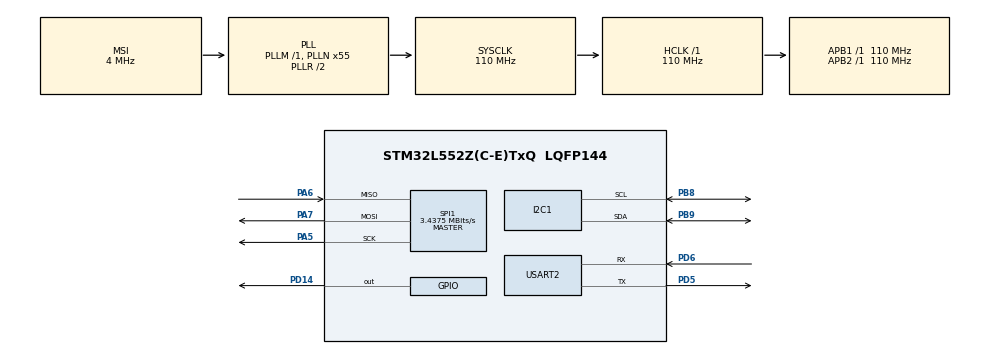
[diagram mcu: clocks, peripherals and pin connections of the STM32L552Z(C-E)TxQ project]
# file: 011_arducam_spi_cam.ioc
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I2C1.Timing=0x60514452
Mcu.Family=STM32L5
Mcu.Name=STM32L552Z(C-E)TxQ
Mcu.Package=LQFP144
Mcu.TrustZone=disable
NUCLEO-L552ZE-Q.BUTTON=1
NUCLEO-L552ZE-Q.LD1=true
NUCLEO-L552ZE-Q.LD2=true
NUCLEO-L552ZE-Q.LD3=true
NUCLEO-L552ZE-Q.VCP=true
NVIC.EXTI13_IRQn=true\:0\:0\:false\:false\:true\:false\:true\:true
NVIC.I2C1_ER_IRQn=true\:0\:0\:false\:false\:true\:true\:true\:true
NVIC.I2C1_EV_IRQn=true\:0\:0\:false\:false\:true\:true\:true\:true
NVIC.PriorityGroup=NVIC_PRIORITYGROUP_3
NVIC.RCC_IRQn=true\:0\:0\:false\:false\:true\:true\:false\:true
NVIC.SPI1_IRQn=true\:0\:0\:false\:false\:true\:true\:true\:true
NVIC.USART2_IRQn=true\:0\:0\:false\:false\:true\:true\:true\:true
PA13\ (JTMS/SWDIO).Mode=Serial_Wire
PA13\ (JTMS/SWDIO).Signal=DEBUG_JTMS-SWDIO
PA14\ (JTCK/SWCLK).Mode=Serial_Wire
PA14\ (JTCK/SWCLK).Signal=DEBUG_JTCK-SWCLK
PA5.Mode=Full_Duplex_Master
PA5.Signal=SPI1_SCK
PA6.Mode=Full_Duplex_Master
PA6.Signal=SPI1_MISO
PA7.Mode=Full_Duplex_Master
PA7.Signal=SPI1_MOSI
PB3\ (JTDO/TRACESWO).Signal=DEBUG_JTDO-SWO
PB8.Mode=I2C
PB8.Signal=I2C1_SCL
PB9.Mode=I2C
PB9.Signal=I2C1_SDA
PC14-OSC32_IN\ (PC14).Mode=LSE-External-Oscillator
PC14-OSC32_IN\ (PC14).Signal=RCC_OSC32_IN
PC15-OSC32_OUT\ (PC15).Mode=LSE-External-Oscillator
PC15-OSC32_OUT\ (PC15).Signal=RCC_OSC32_OUT
PD14.GPIO_Speed=GPIO_SPEED_FREQ_HIGH
PD14.PinState=GPIO_PIN_SET
PD14.Signal=GPIO_Output
PD5.Mode=Asynchronous
PD5.Signal=USART2_TX
PD6.Mode=Asynchronous
PD6.Signal=USART2_RX
PG7.Signal=LPUART1_TX
PG8.Signal=LPUART1_RX
ProjectManager.HeapSize=0x200
ProjectManager.StackSize=0x400
ProjectManager.TargetToolchain=STM32CubeIDE
RCC.ADCCLockSelection=RCC_ADCCLKSOURCE_SYSCLK
RCC.ADCFreq_Value=110000000
RCC.AHBFreq_Value=110000000
RCC.APB1Freq_Value=110000000
RCC.APB1TimFreq_Value=110000000
RCC.APB2Freq_Value=110000000
RCC.APB2TimFreq_Value=110000000
RCC.CK48CLockSelection=RCC_USBCLKSOURCE_HSI48
RCC.CortexFreq_Value=110000000
RCC.HCLKFreq_Value=110000000
RCC.HSE_VALUE=8000000
RCC.HSI48_VALUE=48000000
RCC.HSI_VALUE=16000000
RCC.MSI_VALUE=4000000
RCC.PLLN=55
RCC.PLLSAI1N=24
RCC.RTCClockSelection=RCC_RTCCLKSOURCE_LSE
RCC.SYSCLKFreq_VALUE=110000000
RCC.SYSCLKSource=RCC_SYSCLKSOURCE_PLLCLK
RCC.USBFreq_Value=48000000
RCC.VCOOutputFreq_Value=220000000
SPI1.BaudRatePrescaler=SPI_BAUDRATEPRESCALER_32
SPI1.CalculateBaudRate=3.4375 MBits/s
SPI1.DataSize=SPI_DATASIZE_8BIT
SPI1.Direction=SPI_DIRECTION_2LINES
SPI1.Mode=SPI_MODE_MASTER
SPI1.NSSPMode=SPI_NSS_PULSE_DISABLE
SPI1.VirtualType=VM_MASTER
USART2.VirtualMode-Asynchronous=VM_ASYNC
VP_ICACHE_VS_ICACHE.Mode=DirectMappedCache
VP_NUCLEO-L552ZE-Q_VS_BSP_COMMON.Mode=COMMON
VP_PWR_VS_DBSignals.Mode=DisableDeadBatterySignals
VP_PWR_VS_SECSignals.Mode=Security/Privilege
board=NUCLEO-L552ZE-Q

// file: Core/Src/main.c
/* USER CODE BEGIN Header */
/**
  ******************************************************************************
  * @file           : main.c
  * @brief          : Main program body
  ******************************************************************************
  * @attention
  *
  * Copyright (c) 2026 STMicroelectronics.
  * All rights reserved.
  *
  * This software is licensed under terms that can be found in the LICENSE file
  * in the root directory of this software component.
  * If no LICENSE file comes with this software, it is provided AS-IS.
  *
  ******************************************************************************
  */
/* USER CODE END Header */
#include "main.h"

/* USER CODE BEGIN Includes */
#include "arducam.h"
#include <stdio.h>
#include <string.h>
#include "stm32l5xx_nucleo.h"
/* USER CODE END Includes */

/* USER CODE BEGIN PD */

/* Frame markers for host communication */
#define FRAME_START_MARKER_0    0xFF
#define FRAME_START_MARKER_1    0xAA
#define FRAME_END_MARKER_0      0xBB
#define FRAME_END_MARKER_1      0xCC

/* Commands from host */
#define CMD_SET_RES_320x240     0x00
#define CMD_SET_RES_640x480     0x01
#define CMD_SET_RES_1024x768    0x02
#define CMD_SET_RES_1280x960    0x03
#define CMD_SET_RES_1600x1200   0x04
#define CMD_SET_RES_2048x1536   0x05
#define CMD_SET_RES_2592x1944   0x06
#define CMD_SINGLE_CAPTURE      0x10
#define CMD_INIT_JPEG           0x11
#define CMD_START_STREAMING     0x20
#define CMD_STOP_STREAMING      0x21
#define CMD_QUALITY_HIGH        0xD0
#define CMD_QUALITY_DEFAULT     0xD1
#define CMD_QUALITY_LOW         0xD2
#define CMD_RESET_CAMERA        0xF0

/* Capture modes */
#define MODE_IDLE               0
#define MODE_SINGLE             1
#define MODE_STREAMING          2

/* USER CODE END PD */

COM_InitTypeDef BspCOMInit;
I2C_HandleTypeDef hi2c1;

SPI_HandleTypeDef hspi1;

UART_HandleTypeDef huart2;

/* USER CODE BEGIN PV */
static arducam_handle_t cam;

#define IMAGE_BUFFER_SIZE   (64 * 1024)  /* 64KB for JPEG */
static uint8_t image_buffer[IMAGE_BUFFER_SIZE];

/* Streaming state */
static volatile uint8_t capture_mode = MODE_IDLE;
static volatile uint8_t start_capture = 0;
static volatile uint8_t rx_command = 0xFF;
static volatile uint8_t rx_data_ready = 0;
/* USER CODE END PV */

void SystemClock_Config(void);
static void MX_GPIO_Init(void);
static void MX_I2C1_Init(void);
static void MX_ICACHE_Init(void);
static void MX_SPI1_Init(void);
static void MX_USART2_UART_Init(void);
/* USER CODE BEGIN PFP */
static HAL_StatusTypeDef camera_init(void);
static void process_command(uint8_t cmd);
static HAL_StatusTypeDef capture_and_send_image(void);
static void send_image_data(uint8_t *data, uint32_t length);
static void uart_send_string(const char *str);
static void start_uart_receive(void);

/* USER CODE END PFP */

/* USER CODE BEGIN 0 */

/* Print single character to USART2 */
void print_uart2(const char *str)
{
    HAL_UART_Transmit(&huart2, (uint8_t *)str, strlen(str), HAL_MAX_DELAY);
}

/* USER CODE END 0 */

int main(void)
{

  /* MCU Configuration--------------------------------------------------------*/

  /* Reset of all peripherals, Initializes the Flash interface and the Systick. */
  HAL_Init();

  /* Configure the system clock */
  SystemClock_Config();

  /* Initialize all configured peripherals */
  MX_GPIO_Init();
  MX_I2C1_Init();
  MX_ICACHE_Init();
  MX_SPI1_Init();
  MX_USART2_UART_Init();

  /* Initialize leds */
  BSP_LED_Init(LED_GREEN);
  BSP_LED_Init(LED_BLUE);
  BSP_LED_Init(LED_RED);

  /* Initialize USER push-button, will be used to trigger an interrupt each time it's pressed.*/
  BSP_PB_Init(BUTTON_USER, BUTTON_MODE_EXTI);

  /* Initialize COM1 port (115200, 8 bits (7-bit data + 1 stop bit), no parity */
  BspCOMInit.BaudRate   = 115200;
  BspCOMInit.WordLength = COM_WORDLENGTH_8B;
  BspCOMInit.StopBits   = COM_STOPBITS_1;
  BspCOMInit.Parity     = COM_PARITY_NONE;
  BspCOMInit.HwFlowCtl  = COM_HWCONTROL_NONE;
  if (BSP_COM_Init(COM1, &BspCOMInit) != BSP_ERROR_NONE)
  {
    Error_Handler();
  }

  /* Infinite loop */
  /* USER CODE BEGIN WHILE */
  /* Enable USART2 interrupt for command reception */
  HAL_NVIC_SetPriority(USART2_IRQn, 5, 0);
  HAL_NVIC_EnableIRQ(USART2_IRQn);

  if (camera_init() != HAL_OK) {
      printf("Camera initialization failed!\r\n");
      BSP_LED_On(LED_RED);
  } else {
      printf("Camera ready. Waiting for commands...\r\n");
      BSP_LED_On(LED_GREEN);
  }

  /* Start receiving commands from host */
  start_uart_receive();

  while (1)
  {
      /* Check for received command */
      if (rx_data_ready) {
          rx_data_ready = 0;
          process_command(rx_command);
          start_uart_receive();  /* Restart reception */
      }

      /* Handle capture modes */
      if (capture_mode == MODE_SINGLE) {
          if (start_capture == 1) {
              /* Start single capture - camera already woken up and FIFO cleared in process_command */
              printf("Starting single capture...\r\n");
              HAL_Delay(200);  /* Wait for sensor to stabilize */

              /* Start capture */
              arducam_start_capture(&cam);
              printf("Capture started, waiting for completion...\r\n");
              start_capture = 0;
          }

          /* Check if capture is done */
          bool done = false;
          arducam_is_capture_done(&cam, &done);
          if (done) {
              /* Wait a bit more to ensure FIFO is filled */
              HAL_Delay(50);

              printf("Capture done!\r\n");
              BSP_LED_Toggle(LED_BLUE);
              capture_and_send_image();
              arducam_clear_fifo_flag(&cam);
              arducam_enter_standby(&cam);
              capture_mode = MODE_IDLE;
          }
      }
      else if (capture_mode == MODE_STREAMING) {
          /* Check for stop command */
          if (rx_data_ready && rx_command == CMD_STOP_STREAMING) {
              rx_data_ready = 0;
              capture_mode = MODE_IDLE;
              start_capture = 0;
              uart_send_string("ACK CMD CAM stop video streaming. END");
              arducam_enter_standby(&cam);
              start_uart_receive();
              continue;
          }

          if (start_capture == 2) {
              /* Start streaming capture */
              arducam_flush_fifo(&cam);
              arducam_clear_fifo_flag(&cam);
              arducam_start_capture(&cam);
              start_capture = 0;
          }

          /* Check if capture is done */
          bool done = false;
          arducam_is_capture_done(&cam, &done);
          if (done) {
              BSP_LED_Toggle(LED_BLUE);
              capture_and_send_image();
              start_capture = 2;  /* Continue streaming */
          }
      }

    /* USER CODE END WHILE */

  }
}

void SystemClock_Config(void)
{
  RCC_OscInitTypeDef RCC_OscInitStruct = {0};
  RCC_ClkInitTypeDef RCC_ClkInitStruct = {0};

  /** Configure the main internal regulator output voltage
  */
  if (HAL_PWREx_ControlVoltageScaling(PWR_REGULATOR_VOLTAGE_SCALE0) != HAL_OK)
  {
    Error_Handler();
  }

  /** Initializes the RCC Oscillators according to the specified parameters
  * in the RCC_OscInitTypeDef structure.
  */
  RCC_OscInitStruct.OscillatorType = RCC_OSCILLATORTYPE_MSI;
  RCC_OscInitStruct.MSIState = RCC_MSI_ON;
  RCC_OscInitStruct.MSICalibrationValue = RCC_MSICALIBRATION_DEFAULT;
  RCC_OscInitStruct.MSIClockRange = RCC_MSIRANGE_6;
  RCC_OscInitStruct.PLL.PLLState = RCC_PLL_ON;
  RCC_OscInitStruct.PLL.PLLSource = RCC_PLLSOURCE_MSI;
  RCC_OscInitStruct.PLL.PLLM = 1;
  RCC_OscInitStruct.PLL.PLLN = 55;
  RCC_OscInitStruct.PLL.PLLP = RCC_PLLP_DIV7;
  RCC_OscInitStruct.PLL.PLLQ = RCC_PLLQ_DIV2;
  RCC_OscInitStruct.PLL.PLLR = RCC_PLLR_DIV2;
  if (HAL_RCC_OscConfig(&RCC_OscInitStruct) != HAL_OK)
  {
    Error_Handler();
  }

  /** Initializes the CPU, AHB and APB buses clocks
  */
  RCC_ClkInitStruct.ClockType = RCC_CLOCKTYPE_HCLK|RCC_CLOCKTYPE_SYSCLK
                              |RCC_CLOCKTYPE_PCLK1|RCC_CLOCKTYPE_PCLK2;
  RCC_ClkInitStruct.SYSCLKSource = RCC_SYSCLKSOURCE_PLLCLK;
  RCC_ClkInitStruct.AHBCLKDivider = RCC_SYSCLK_DIV1;
  RCC_ClkInitStruct.APB1CLKDivider = RCC_HCLK_DIV1;
  RCC_ClkInitStruct.APB2CLKDivider = RCC_HCLK_DIV1;

  if (HAL_RCC_ClockConfig(&RCC_ClkInitStruct, FLASH_LATENCY_5) != HAL_OK)
  {
    Error_Handler();
  }
}

static void MX_I2C1_Init(void)
{

  hi2c1.Instance = I2C1;
  hi2c1.Init.Timing = 0x60514452;
  hi2c1.Init.OwnAddress1 = 0;
  hi2c1.Init.AddressingMode = I2C_ADDRESSINGMODE_7BIT;
  hi2c1.Init.DualAddressMode = I2C_DUALADDRESS_DISABLE;
  hi2c1.Init.OwnAddress2 = 0;
  hi2c1.Init.OwnAddress2Masks = I2C_OA2_NOMASK;
  hi2c1.Init.GeneralCallMode = I2C_GENERALCALL_DISABLE;
  hi2c1.Init.NoStretchMode = I2C_NOSTRETCH_DISABLE;
  if (HAL_I2C_Init(&hi2c1) != HAL_OK)
  {
    Error_Handler();
  }

  /** Configure Analogue filter
  */
  if (HAL_I2CEx_ConfigAnalogFilter(&hi2c1, I2C_ANALOGFILTER_ENABLE) != HAL_OK)
  {
    Error_Handler();
  }

  /** Configure Digital filter
  */
  if (HAL_I2CEx_ConfigDigitalFilter(&hi2c1, 0) != HAL_OK)
  {
    Error_Handler();
  }

}

static void MX_ICACHE_Init(void)
{

  /** Enable instruction cache in 1-way (direct mapped cache)
  */
  if (HAL_ICACHE_ConfigAssociativityMode(ICACHE_1WAY) != HAL_OK)
  {
    Error_Handler();
  }
  if (HAL_ICACHE_Enable() != HAL_OK)
  {
    Error_Handler();
  }

}

static void MX_SPI1_Init(void)
{

  /* SPI1 parameter configuration*/
  hspi1.Instance = SPI1;
  hspi1.Init.Mode = SPI_MODE_MASTER;
  hspi1.Init.Direction = SPI_DIRECTION_2LINES;
  hspi1.Init.DataSize = SPI_DATASIZE_8BIT;
  hspi1.Init.CLKPolarity = SPI_POLARITY_LOW;
  hspi1.Init.CLKPhase = SPI_PHASE_1EDGE;
  hspi1.Init.NSS = SPI_NSS_SOFT;
  hspi1.Init.BaudRatePrescaler = SPI_BAUDRATEPRESCALER_32;
  hspi1.Init.FirstBit = SPI_FIRSTBIT_MSB;
  hspi1.Init.TIMode = SPI_TIMODE_DISABLE;
  hspi1.Init.CRCCalculation = SPI_CRCCALCULATION_DISABLE;
  hspi1.Init.CRCPolynomial = 7;
  hspi1.Init.CRCLength = SPI_CRC_LENGTH_DATASIZE;
  hspi1.Init.NSSPMode = SPI_NSS_PULSE_DISABLE;
  if (HAL_SPI_Init(&hspi1) != HAL_OK)
  {
    Error_Handler();
  }

}

static void MX_USART2_UART_Init(void)
{

  huart2.Instance = USART2;
  huart2.Init.BaudRate = 115200;
  huart2.Init.WordLength = UART_WORDLENGTH_8B;
  huart2.Init.StopBits = UART_STOPBITS_1;
  huart2.Init.Parity = UART_PARITY_NONE;
  huart2.Init.Mode = UART_MODE_TX_RX;
  huart2.Init.HwFlowCtl = UART_HWCONTROL_NONE;
  huart2.Init.OverSampling = UART_OVERSAMPLING_16;
  huart2.Init.OneBitSampling = UART_ONE_BIT_SAMPLE_DISABLE;
  huart2.Init.ClockPrescaler = UART_PRESCALER_DIV1;
  huart2.AdvancedInit.AdvFeatureInit = UART_ADVFEATURE_NO_INIT;
  if (HAL_UART_Init(&huart2) != HAL_OK)
  {
    Error_Handler();
  }
  if (HAL_UARTEx_SetTxFifoThreshold(&huart2, UART_TXFIFO_THRESHOLD_1_8) != HAL_OK)
  {
    Error_Handler();
  }
  if (HAL_UARTEx_SetRxFifoThreshold(&huart2, UART_RXFIFO_THRESHOLD_1_8) != HAL_OK)
  {
    Error_Handler();
  }
  if (HAL_UARTEx_DisableFifoMode(&huart2) != HAL_OK)
  {
    Error_Handler();
  }

}

static void MX_GPIO_Init(void)
{
  GPIO_InitTypeDef GPIO_InitStruct = {0};

  /* GPIO Ports Clock Enable */
  __HAL_RCC_GPIOC_CLK_ENABLE();
  __HAL_RCC_GPIOA_CLK_ENABLE();
  __HAL_RCC_GPIOD_CLK_ENABLE();
  __HAL_RCC_GPIOB_CLK_ENABLE();

  /*Configure GPIO pin Output Level */
  HAL_GPIO_WritePin(GPIOD, GPIO_PIN_14, GPIO_PIN_SET);

  /*Configure GPIO pin : PD14 */
  GPIO_InitStruct.Pin = GPIO_PIN_14;
  GPIO_InitStruct.Mode = GPIO_MODE_OUTPUT_PP;
  GPIO_InitStruct.Pull = GPIO_NOPULL;
  GPIO_InitStruct.Speed = GPIO_SPEED_FREQ_HIGH;
  HAL_GPIO_Init(GPIOD, &GPIO_InitStruct);

}

/* USER CODE BEGIN 4 */
static HAL_StatusTypeDef camera_init(void)
{
    HAL_StatusTypeDef status;
    uint16_t chip_id;
    char msg[64];
    uint8_t test_read;

    /* Configure ArduCAM */
    arducam_config_t config = {
        .hspi = &hspi1,
        .hi2c = &hi2c1,
        .cs_port = GPIOD,
        .cs_pin = GPIO_PIN_14,
        .sensor_model = ARDUCAM_OV5642
    };

    /* Initialize driver */
    status = arducam_init(&cam, &config);
    if (status != HAL_OK) {
        printf("ArduCAM init failed!\r\n");
        return status;
    }
    printf("ArduCAM driver initialized\r\n");

    /* Debug: Test raw SPI read/write */
    printf("Testing SPI communication...\r\n");

    /* Write 0x55 to test register */
    status = arducam_write_reg(&cam, 0x00, 0x55);
    printf("  Write 0x55 to reg 0x00: %s\r\n", (status == HAL_OK) ? "OK" : "FAIL");

    /* Read back */
    status = arducam_read_reg(&cam, 0x00, &test_read);
    printf("  Read reg 0x00: 0x%02X (expected 0x55), status: %s\r\n",
           test_read, (status == HAL_OK) ? "OK" : "FAIL");

    /* Write 0xAA to test register */
    status = arducam_write_reg(&cam, 0x00, 0xAA);
    printf("  Write 0xAA to reg 0x00: %s\r\n", (status == HAL_OK) ? "OK" : "FAIL");

    /* Read back */
    status = arducam_read_reg(&cam, 0x00, &test_read);
    printf("  Read reg 0x00: 0x%02X (expected 0xAA), status: %s\r\n",
           test_read, (status == HAL_OK) ? "OK" : "FAIL");

    /* Verify SPI communication */
    status = arducam_verify_spi(&cam);
    if (status != HAL_OK) {
        printf("SPI verification failed! Check wiring.\r\n");
        printf("  Possible causes:\r\n");
        printf("  - CS pin not connected (PD14)\r\n");
        printf("  - SPI wiring: SCK=PA5, MISO=PA6, MOSI=PA7\r\n");
        printf("  - ArduCAM not powered\r\n");
        printf("  - SPI mode mismatch (Mode 0: CPOL=0, CPHA=0)\r\n");
        return status;
    }
    printf("SPI communication OK\r\n");

    /* I2C scan to find devices */
    printf("Scanning I2C bus...\r\n");
    uint8_t found_addr = 0;
    for (uint8_t addr = 0x08; addr < 0x78; addr++) {
        if (HAL_I2C_IsDeviceReady(&hi2c1, addr << 1, 1, 10) == HAL_OK) {
            printf("  Found device at 0x%02X\r\n", addr);
            found_addr = addr;
        }
    }
    if (found_addr == 0) {
        printf("  No I2C devices found!\r\n");
        printf("  Check wiring: SDA=PB9, SCL=PB8\r\n");
        printf("  Check power to ArduCAM module\r\n");
    }

    /* Verify I2C communication and read chip ID */
    printf("Trying OV5642 at address 0x%02X...\r\n", cam.sensor_addr);
    status = arducam_verify_i2c(&cam, &chip_id);
    if (status != HAL_OK) {
        printf("I2C verification failed!\r\n");
        printf("  Expected OV5642 at 0x3C (7-bit)\r\n");
        printf("  Check wiring: SDA=PB9, SCL=PB8\r\n");
        printf("  Ensure ArduCAM is powered (5V and 3.3V)\r\n");

        /* Try alternate address */
        printf("Trying alternate address 0x78 (8-bit = 0x3C << 1)...\r\n");
        cam.sensor_addr = 0x78 >> 1;  /* Try 0x3C */
        status = arducam_verify_i2c(&cam, &chip_id);
        if (status != HAL_OK) {
            printf("Still failed. Chip ID read: 0x%04X\r\n", chip_id);
            return status;
        }
    }
    snprintf(msg, sizeof(msg), "Sensor detected, Chip ID: 0x%04X\r\n", chip_id);
    printf(msg);

    /* Set format to JPEG */
    arducam_set_format(&cam, ARDUCAM_FMT_JPEG);

    /* Initialize camera sensor */
    status = arducam_init_cam(&cam);
    if (status != HAL_OK) {
        printf("Camera sensor init failed!\r\n");
        return status;
    }
    printf("Camera sensor initialized\r\n");

    /* Set VSYNC polarity - CRITICAL for capture to work */
    status = arducam_set_bit(&cam, ARDUCHIP_TIM, VSYNC_LEVEL_MASK);
    if (status != HAL_OK) {
        printf("Failed to set VSYNC level!\r\n");
        return status;
    }
    printf("VSYNC level set\r\n");

    HAL_Delay(1000);  /* Wait for sensor to stabilize */

    /* Set resolution to 640x480 */
    status = arducam_ov5642_set_jpeg_size(&cam, OV5642_640x480);
    if (status != HAL_OK) {
        printf("Failed to set resolution!\r\n");
        return status;
    }
    printf("Resolution set to 640x480\r\n");

    HAL_Delay(1000);  /* Wait for sensor to stabilize */

    /* Enter standby mode to reduce power consumption and heat */
    status = arducam_enter_standby(&cam);
    if (status != HAL_OK) {
        printf("Failed to enter standby mode!\r\n");
        return status;
    }
    printf("Camera in standby mode (low power)\r\n");

    return HAL_OK;
}

/**
 * @brief Start UART receive for command byte (non-blocking)
 */
static void start_uart_receive(void)
{
    HAL_UART_Receive_IT(&huart2, (uint8_t*)&rx_command, 1);
}

/**
 * @brief UART receive complete callback
 */
void HAL_UART_RxCpltCallback(UART_HandleTypeDef *huart)
{
    if (huart->Instance == USART2) {
        rx_data_ready = 1;
    }
}

/**
 * @brief Send string via UART
 */
static void uart_send_string(const char *str)
{
    HAL_UART_Transmit(&huart2, (uint8_t*)str, strlen(str), 1000);
}

/**
 * @brief Send image data with frame markers
 */
static void send_image_data(uint8_t *data, uint32_t length)
{
    uint8_t header[6];
    uint8_t footer[2];

    /* Start marker */
    header[0] = FRAME_START_MARKER_0;
    header[1] = FRAME_START_MARKER_1;

    /* Length (4 bytes, little-endian) */
    header[2] = (length >> 0) & 0xFF;
    header[3] = (length >> 8) & 0xFF;
    header[4] = (length >> 16) & 0xFF;
    header[5] = (length >> 24) & 0xFF;

    /* End marker */
    footer[0] = FRAME_END_MARKER_0;
    footer[1] = FRAME_END_MARKER_1;

    /* Send header */
    HAL_UART_Transmit(&huart2, header, 6, 1000);

    /* Send image data in chunks */
    uint32_t remaining = length;
    uint8_t *ptr = data;
    while (remaining > 0) {
        uint16_t chunk = (remaining > 1024) ? 1024 : (uint16_t)remaining;
        HAL_UART_Transmit(&huart2, ptr, chunk, 1000);
        ptr += chunk;
        remaining -= chunk;
    }

    /* Send footer */
    HAL_UART_Transmit(&huart2, footer, 2, 1000);
}

/**
 * @brief Capture image and send to host
 */
static HAL_StatusTypeDef capture_and_send_image(void)
{
    HAL_StatusTypeDef status;
    uint32_t fifo_length = 0;
    uint8_t len1, len2, len3;

    /* Debug: Read raw FIFO size registers */
    arducam_read_reg(&cam, 0x42, &len1);
    arducam_read_reg(&cam, 0x43, &len2);
    arducam_read_reg(&cam, 0x44, &len3);
    printf("Raw FIFO regs: 0x42=%02X, 0x43=%02X, 0x44=%02X\r\n", len1, len2, len3);

    /* Read FIFO length */
    status = arducam_read_fifo_length(&cam, &fifo_length);
    if (status != HAL_OK) {
        printf("Failed to read FIFO length\r\n");
        return status;
    }

    printf("FIFO length: %lu bytes\r\n", fifo_length);

    /* Validate length */
    if (fifo_length == 0 || fifo_length > IMAGE_BUFFER_SIZE) {
        printf("Invalid FIFO length: %lu\r\n", fifo_length);
        return HAL_ERROR;
    }

    /* Read image data from FIFO */
    status = arducam_read_fifo_burst(&cam, image_buffer, fifo_length);
    if (status != HAL_OK) {
        printf("Failed to read FIFO data\r\n");
        return status;
    }

    /* Debug: Check JPEG markers */
    printf("First bytes: %02X %02X, Last bytes: %02X %02X\r\n",
           image_buffer[0], image_buffer[1],
           image_buffer[fifo_length-2], image_buffer[fifo_length-1]);

    /* Send image to host */
    send_image_data(image_buffer, fifo_length);

    return HAL_OK;
}

/**
 * @brief Process command from host
 */
static void process_command(uint8_t cmd)
{
    HAL_StatusTypeDef status;

    switch (cmd) {
        /* Resolution commands */
        case CMD_SET_RES_320x240:
            status = arducam_ov5642_set_jpeg_size(&cam, OV5642_320x240);
            if (status == HAL_OK) {
                uart_send_string("ACK CMD switch to OV5642_320x240");
            }
            HAL_Delay(1000);
            break;

        case CMD_SET_RES_640x480:
            status = arducam_ov5642_set_jpeg_size(&cam, OV5642_640x480);
            if (status == HAL_OK) {
                uart_send_string("ACK CMD switch to OV5642_640x480");
            }
            HAL_Delay(1000);
            break;

        case CMD_SET_RES_1024x768:
            status = arducam_ov5642_set_jpeg_size(&cam, OV5642_1024x768);
            if (status == HAL_OK) {
                uart_send_string("ACK CMD switch to OV5642_1024x768");
            }
            HAL_Delay(1000);
            break;

        case CMD_SET_RES_1280x960:
            status = arducam_ov5642_set_jpeg_size(&cam, OV5642_1280x960);
            if (status == HAL_OK) {
                uart_send_string("ACK CMD switch to OV5642_1280x960");
            }
            HAL_Delay(1000);
            break;

        case CMD_SET_RES_1600x1200:
            status = arducam_ov5642_set_jpeg_size(&cam, OV5642_1600x1200);
            if (status == HAL_OK) {
                uart_send_string("ACK CMD switch to OV5642_1600x1200");
            }
            HAL_Delay(1000);
            break;

        case CMD_SET_RES_2048x1536:
            status = arducam_ov5642_set_jpeg_size(&cam, OV5642_2048x1536);
            if (status == HAL_OK) {
                uart_send_string("ACK CMD switch to OV5642_2048x1536");
            }
            HAL_Delay(1000);
            break;

        case CMD_SET_RES_2592x1944:
            status = arducam_ov5642_set_jpeg_size(&cam, OV5642_2592x1944);
            if (status == HAL_OK) {
                uart_send_string("ACK CMD switch to OV5642_2592x1944");
            }
            HAL_Delay(1000);
            break;

        /* Single capture */
        case CMD_SINGLE_CAPTURE:
            /* Flush UART to clear any pending data */
            HAL_UART_AbortReceive(&huart2);
            __HAL_UART_FLUSH_DRREGISTER(&huart2);
            /* Ensure camera is in clean state before capture */
            arducam_exit_standby(&cam);
            HAL_Delay(100);
            /* Clear any leftover data in FIFO */
            arducam_flush_fifo(&cam);
            arducam_clear_fifo_flag(&cam);
            capture_mode = MODE_SINGLE;
            start_capture = 1;

            break;

        /* Re-initialize JPEG mode */
        case CMD_INIT_JPEG:
            arducam_set_format(&cam, ARDUCAM_FMT_JPEG);
            arducam_init_cam(&cam);
            arducam_set_bit(&cam, ARDUCHIP_TIM, VSYNC_LEVEL_MASK);
            uart_send_string("ACK CMD CAM JPEG mode initialized");
            break;

        /* Start streaming */
        case CMD_START_STREAMING:
            arducam_exit_standby(&cam);
            HAL_Delay(100);
            capture_mode = MODE_STREAMING;
            start_capture = 2;
            uart_send_string("ACK CMD CAM start video streaming.");
            break;

        /* Stop streaming */
        case CMD_STOP_STREAMING:
            capture_mode = MODE_IDLE;
            start_capture = 0;
            /* Clear FIFO to remove any leftover data */
            arducam_flush_fifo(&cam);
            arducam_clear_fifo_flag(&cam);
            arducam_enter_standby(&cam);
            /* Flush UART to clear any pending data */
            HAL_UART_AbortReceive(&huart2);
            __HAL_UART_FLUSH_DRREGISTER(&huart2);
            uart_send_string("ACK CMD CAM stop video streaming. END");
            break;

        /* Quality commands */
        case CMD_QUALITY_HIGH:
            status = arducam_ov5642_set_compress_quality(&cam, QUALITY_HIGH);
            if (status == HAL_OK) {
                uart_send_string("ACK CMD Set to high quality");
            }
            break;

        case CMD_QUALITY_DEFAULT:
            status = arducam_ov5642_set_compress_quality(&cam, QUALITY_DEFAULT);
            if (status == HAL_OK) {
                uart_send_string("ACK CMD Set to default quality");
            }
            break;

        case CMD_QUALITY_LOW:
            status = arducam_ov5642_set_compress_quality(&cam, QUALITY_LOW);
            if (status == HAL_OK) {
                uart_send_string("ACK CMD Set to low quality");
            }
            break;

        /* Full camera reset */
        case CMD_RESET_CAMERA:
            capture_mode = MODE_IDLE;
            start_capture = 0;
            /* Flush UART */
            HAL_UART_AbortReceive(&huart2);
            __HAL_UART_FLUSH_DRREGISTER(&huart2);
            /* Clear FIFO */
            arducam_flush_fifo(&cam);
            arducam_clear_fifo_flag(&cam);
            /* Full sensor software reset and re-initialization */
            arducam_set_format(&cam, ARDUCAM_FMT_JPEG);
            status = arducam_init_cam(&cam);
            if (status == HAL_OK) {
                arducam_set_bit(&cam, ARDUCHIP_TIM, VSYNC_LEVEL_MASK);
                HAL_Delay(1000);
                arducam_ov5642_set_jpeg_size(&cam, OV5642_640x480);
                HAL_Delay(500);
                arducam_enter_standby(&cam);
                uart_send_string("ACK CMD CAM reset complete");
            } else {
                uart_send_string("ERR CMD CAM reset failed");
            }
            break;

        default:
            /* Unknown command - ignore */
            break;
    }
}
/* USER CODE END 4 */

void Error_Handler(void)
{
  __disable_irq();
  while (1)
  {
  }
}
